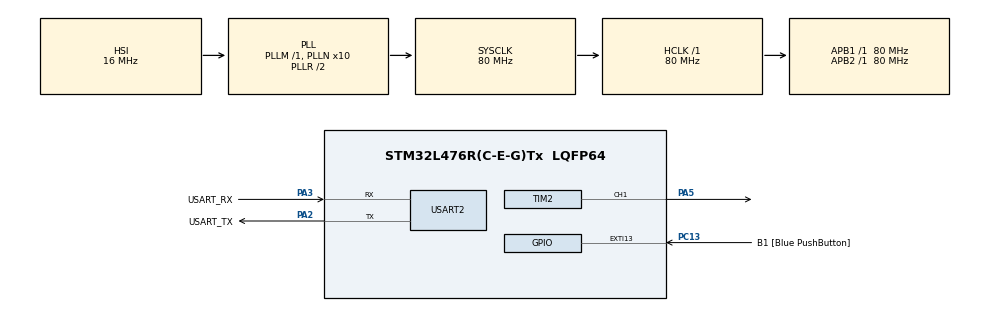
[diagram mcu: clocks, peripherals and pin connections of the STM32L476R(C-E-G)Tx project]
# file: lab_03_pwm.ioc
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Mcu.Family=STM32L4
Mcu.Name=STM32L476R(C-E-G)Tx
Mcu.Package=LQFP64
Mcu.UserConstants=TIM2_PERIOD,26665;TIM2_PRESCALER,0
NVIC.EXTI15_10_IRQn=true\:0\:0\:false\:false\:true\:true\:true\:true
NVIC.PriorityGroup=NVIC_PRIORITYGROUP_4
NVIC.TIM2_IRQn=true\:0\:0\:false\:false\:true\:true\:true\:true
NVIC.TIM6_DAC_IRQn=true\:0\:0\:false\:false\:true\:true\:true\:true
PA13\ (JTMS-SWDIO).GPIO_Label=TMS
PA13\ (JTMS-SWDIO).Mode=Serial_Wire
PA13\ (JTMS-SWDIO).Signal=SYS_JTMS-SWDIO
PA14\ (JTCK-SWCLK).GPIO_Label=TCK
PA14\ (JTCK-SWCLK).Mode=Serial_Wire
PA14\ (JTCK-SWCLK).Signal=SYS_JTCK-SWCLK
PA2.GPIO_Label=USART_TX
PA2.GPIO_Mode=GPIO_MODE_AF_PP
PA2.GPIO_PuPd=GPIO_NOPULL
PA2.GPIO_Speed=GPIO_SPEED_FREQ_VERY_HIGH
PA2.Mode=Asynchronous
PA2.Signal=USART2_TX
PA3.GPIO_Label=USART_RX
PA3.GPIO_Mode=GPIO_MODE_AF_PP
PA3.GPIO_PuPd=GPIO_NOPULL
PA3.GPIO_Speed=GPIO_SPEED_FREQ_VERY_HIGH
PA3.Mode=Asynchronous
PA3.Signal=USART2_RX
PA5.GPIO_PuPd=GPIO_PULLUP
PA5.Signal=S_TIM2_CH1
PB3\ (JTDO-TRACESWO).GPIO_Label=SWO
PB3\ (JTDO-TRACESWO).Signal=SYS_JTDO-SWO
PC13.GPIO_Label=B1 [Blue PushButton]
PC13.GPIO_ModeDefaultEXTI=GPIO_MODE_IT_FALLING
PC13.GPIO_PuPd=GPIO_PULLUP
PC13.Signal=GPXTI13
PC14-OSC32_IN\ (PC14).Mode=LSE-External-Oscillator
PC14-OSC32_IN\ (PC14).Signal=RCC_OSC32_IN
PC15-OSC32_OUT\ (PC15).Mode=LSE-External-Oscillator
PC15-OSC32_OUT\ (PC15).Signal=RCC_OSC32_OUT
PH0-OSC_IN\ (PH0).Signal=RCC_OSC_IN
PH1-OSC_OUT\ (PH1).Signal=RCC_OSC_OUT
ProjectManager.HeapSize=0x200
ProjectManager.StackSize=0x400
ProjectManager.TargetToolchain=CMake
RCC.ADCFreq_Value=64000000
RCC.AHBFreq_Value=80000000
RCC.APB1Freq_Value=80000000
RCC.APB1TimFreq_Value=80000000
RCC.APB2Freq_Value=80000000
RCC.APB2TimFreq_Value=80000000
RCC.CortexFreq_Value=80000000
RCC.HCLKFreq_Value=80000000
RCC.HSE_VALUE=8000000
RCC.HSI_VALUE=16000000
RCC.MSI_VALUE=4000000
RCC.PLLN=10
RCC.PLLSourceVirtual=RCC_PLLSOURCE_HSI
RCC.PREFETCH_ENABLE=1
RCC.SYSCLKFreq_VALUE=80000000
RCC.SYSCLKSource=RCC_SYSCLKSOURCE_PLLCLK
RCC.USBFreq_Value=64000000
RCC.VCOOutputFreq_Value=160000000
SH.S_TIM2_CH1.0=TIM2_CH1,PWM Generation1 CH1
TIM2.Channel-PWM\ Generation1\ CH1=TIM_CHANNEL_1
TIM2.Period=TIM2_PERIOD
TIM2.Prescaler=TIM2_PRESCALER
TIM6.Period=0
USART2.VirtualMode-Asynchronous=VM_ASYNC
VP_TIM6_VS_ClockSourceINT.Mode=Enable_Timer
board=NUCLEO-L476RG

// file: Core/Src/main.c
/* USER CODE BEGIN Header */
/**
 ******************************************************************************
 * @file           : main.c
 * @brief          : Main program body
 ******************************************************************************
 * @attention
 *
 * Copyright (c) 2025 STMicroelectronics.
 * All rights reserved.
 *
 * This software is licensed under terms that can be found in the LICENSE file
 * in the root directory of this software component.
 * If no LICENSE file comes with this software, it is provided AS-IS.
 *
 ******************************************************************************
 */
/* USER CODE END Header */
#include "main.h"
#include "tim.h"
#include "usart.h"
#include "gpio.h"

/* USER CODE BEGIN PV */
int pwm_duty;
volatile int flag = 0;
/* USER CODE END PV */

void SystemClock_Config(void);

/* USER CODE BEGIN 0 */

void HAL_GPIO_EXTI_Callback(uint16_t GPIO_Pin){
  if (GPIO_Pin == GPIO_PIN_13) {
      flag++;
  }
}

/* USER CODE END 0 */

int main(void)
{

  /* MCU Configuration--------------------------------------------------------*/

  /* Reset of all peripherals, Initializes the Flash interface and the Systick. */
  HAL_Init();

  /* Configure the system clock */
  SystemClock_Config();

  /* Initialize all configured peripherals */
  MX_GPIO_Init();
  MX_TIM2_Init();
  MX_USART2_UART_Init();
  MX_TIM6_Init();
  /* USER CODE BEGIN 2 */

  flag = 0;
  pwm_duty = 0;
  __HAL_TIM_SET_COMPARE(&htim2, TIM_CHANNEL_1, pwm_duty);
  HAL_TIM_PWM_Start(&htim2, TIM_CHANNEL_1);

  /* USER CODE END 2 */

  /* Infinite loop */
  /* USER CODE BEGIN WHILE */
  while (1)
  {
    if (flag == 1)
    {
      pwm_duty = 0;
      __HAL_TIM_SET_COMPARE(&htim2, TIM_CHANNEL_1, pwm_duty);
    }

    if (flag == 2)
    {
      pwm_duty = 26666 * 0.22;
      __HAL_TIM_SET_COMPARE(&htim2, TIM_CHANNEL_1, pwm_duty);
    }

    if (flag == 3)
    {
      pwm_duty = 26666 * 0.65;
      __HAL_TIM_SET_COMPARE(&htim2, TIM_CHANNEL_1, pwm_duty);
    }

    if (flag == 4)
    {
      pwm_duty = 26666;
      __HAL_TIM_SET_COMPARE(&htim2, TIM_CHANNEL_1, pwm_duty);
    }

    if(flag >= 4)
    {
      flag = 0;
    }

    HAL_Delay(10);

    /* USER CODE END WHILE */

  }
}

void SystemClock_Config(void)
{
  RCC_OscInitTypeDef RCC_OscInitStruct = {0};
  RCC_ClkInitTypeDef RCC_ClkInitStruct = {0};

  /** Configure the main internal regulator output voltage
  */
  if (HAL_PWREx_ControlVoltageScaling(PWR_REGULATOR_VOLTAGE_SCALE1) != HAL_OK)
  {
    Error_Handler();
  }

  /** Initializes the RCC Oscillators according to the specified parameters
  * in the RCC_OscInitTypeDef structure.
  */
  RCC_OscInitStruct.OscillatorType = RCC_OSCILLATORTYPE_HSI;
  RCC_OscInitStruct.HSIState = RCC_HSI_ON;
  RCC_OscInitStruct.HSICalibrationValue = RCC_HSICALIBRATION_DEFAULT;
  RCC_OscInitStruct.PLL.PLLState = RCC_PLL_ON;
  RCC_OscInitStruct.PLL.PLLSource = RCC_PLLSOURCE_HSI;
  RCC_OscInitStruct.PLL.PLLM = 1;
  RCC_OscInitStruct.PLL.PLLN = 10;
  RCC_OscInitStruct.PLL.PLLP = RCC_PLLP_DIV7;
  RCC_OscInitStruct.PLL.PLLQ = RCC_PLLQ_DIV2;
  RCC_OscInitStruct.PLL.PLLR = RCC_PLLR_DIV2;
  if (HAL_RCC_OscConfig(&RCC_OscInitStruct) != HAL_OK)
  {
    Error_Handler();
  }

  /** Initializes the CPU, AHB and APB buses clocks
  */
  RCC_ClkInitStruct.ClockType = RCC_CLOCKTYPE_HCLK|RCC_CLOCKTYPE_SYSCLK
                              |RCC_CLOCKTYPE_PCLK1|RCC_CLOCKTYPE_PCLK2;
  RCC_ClkInitStruct.SYSCLKSource = RCC_SYSCLKSOURCE_PLLCLK;
  RCC_ClkInitStruct.AHBCLKDivider = RCC_SYSCLK_DIV1;
  RCC_ClkInitStruct.APB1CLKDivider = RCC_HCLK_DIV1;
  RCC_ClkInitStruct.APB2CLKDivider = RCC_HCLK_DIV1;

  if (HAL_RCC_ClockConfig(&RCC_ClkInitStruct, FLASH_LATENCY_4) != HAL_OK)
  {
    Error_Handler();
  }
}

void Error_Handler(void)
{
  __disable_irq();
  while (1)
  {
  }
}
